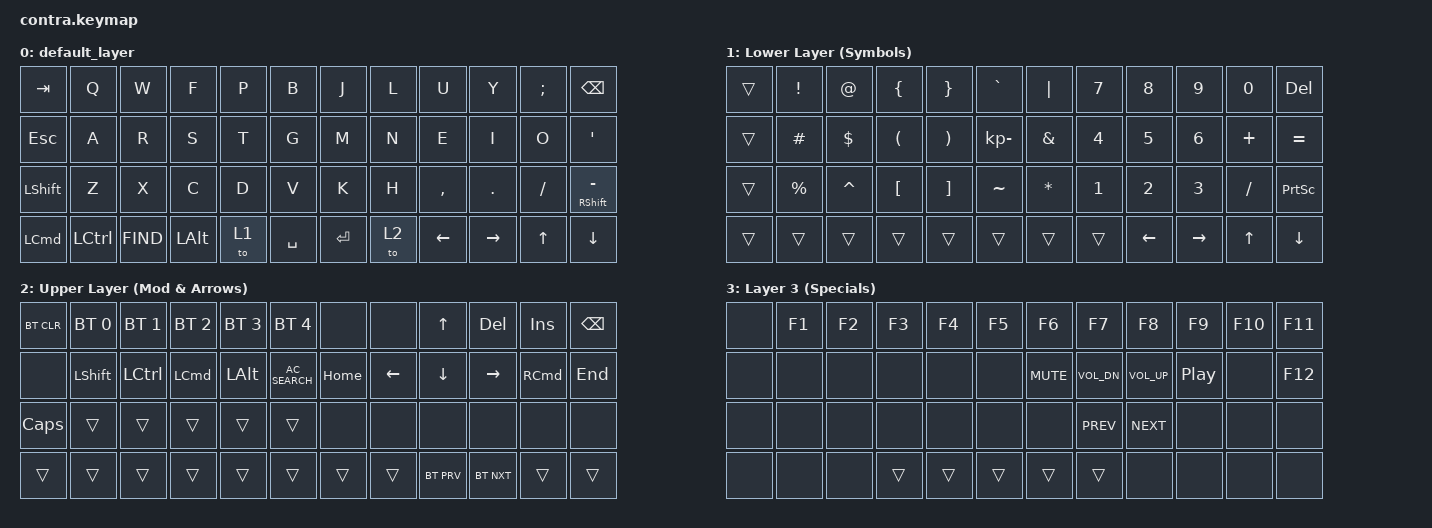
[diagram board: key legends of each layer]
/*
 * Copyright (c) 2021 The ZMK Contributors
 *
 * SPDX-License-Identifier: MIT
 */

#include <behaviors.dtsi>
#include <dt-bindings/zmk/bt.h>
#include <dt-bindings/zmk/keys.h>

#define DEFAULT  0
#define NUM_MODS 1
#define BT_CTRL  2

/ {
    keymap {
        compatible = "zmk,keymap";

        default_layer {
            bindings = <
&kp TAB           &kp Q      &kp W       &kp F         &kp P  &kp B      &kp J      &kp L  &kp U      &kp Y      &kp SEMI  &kp BSPC
&kp ESC           &kp A      &kp R       &kp S         &kp T  &kp G      &kp M      &kp N  &kp E      &kp I      &kp O     &kp SQT
&kp LSHFT         &kp Z      &kp X       &kp C         &kp D  &kp V      &kp K      &kp H  &kp COMMA  &kp DOT    &kp FSLH  &mt RIGHT_SHIFT MINUS
&kp LEFT_COMMAND  &kp LCTRL  &kp K_FIND  &kp LEFT_ALT  &to 1  &kp SPACE  &kp ENTER  &to 2  &kp LEFT   &kp RIGHT  &kp UP    &kp DOWN
            >;
        };

        lower_layer {
            bindings = <
&trans  &kp EXCL     &kp AT      &kp LEFT_BRACE        &kp RIGHT_BRACE        &kp GRAVE     &kp PIPE      &kp N7        &kp N8        &kp N9        &kp N0     &kp DEL
&trans  &kp HASH     &kp DOLLAR  &kp LEFT_PARENTHESIS  &kp RIGHT_PARENTHESIS  &kp KP_MINUS  &kp AMPS      &kp NUMBER_4  &kp NUMBER_5  &kp NUMBER_6  &kp PLUS   &kp EQUAL
&trans  &kp PERCENT  &kp CARET   &kp LEFT_BRACKET      &kp RIGHT_BRACKET      &kp TILDE     &kp ASTERISK  &kp NUMBER_1  &kp NUMBER_2  &kp NUMBER_3  &kp SLASH  &kp PRINTSCREEN
&trans  &trans       &trans      &trans                &trans                 &trans        &trans        &trans        &kp LEFT      &kp RIGHT     &kp UP     &kp DOWN
            >;

            label = "Lower Layer (Symbols)";
        };

        upper_layer {
            bindings = <
&bt BT_CLR  &bt BT_SEL 0    &bt BT_SEL 1      &bt BT_SEL 2      &bt BT_SEL 3  &bt BT_SEL 4     &none     &none     &kp UP      &kp DELETE  &kp INS            &kp BACKSPACE
&none       &kp LEFT_SHIFT  &kp LEFT_CONTROL  &kp LEFT_COMMAND  &kp LEFT_ALT  &kp C_AC_SEARCH  &kp HOME  &kp LEFT  &kp DOWN    &kp RIGHT   &kp RIGHT_COMMAND  &kp END
&kp CAPS    &trans          &trans            &trans            &trans        &trans           &none     &none     &none       &none       &none              &none
&trans      &trans          &trans            &trans            &trans        &trans           &trans    &trans    &bt BT_PRV  &bt BT_NXT  &trans             &trans
            >;

            label = "Upper Layer (Mod & Arrows)";
        };

        layer_3 {
            bindings = <
&none  &kp F1  &kp F2  &kp F3  &kp F4  &kp F5  &kp F6      &kp F7        &kp F8        &kp F9            &kp F10  &kp F11
&none  &none   &none   &none   &none   &none   &kp K_MUTE  &kp C_VOL_DN  &kp C_VOL_UP  &kp C_PLAY_PAUSE  &none    &kp F12
&none  &none   &none   &none   &none   &none   &none       &kp K_PREV    &kp K_NEXT    &none             &none    &none
&none  &none   &none   &trans  &trans  &trans  &trans      &trans        &none         &none             &none    &none
            >;

            label = "Layer 3 (Specials)";
        };
    };
};
